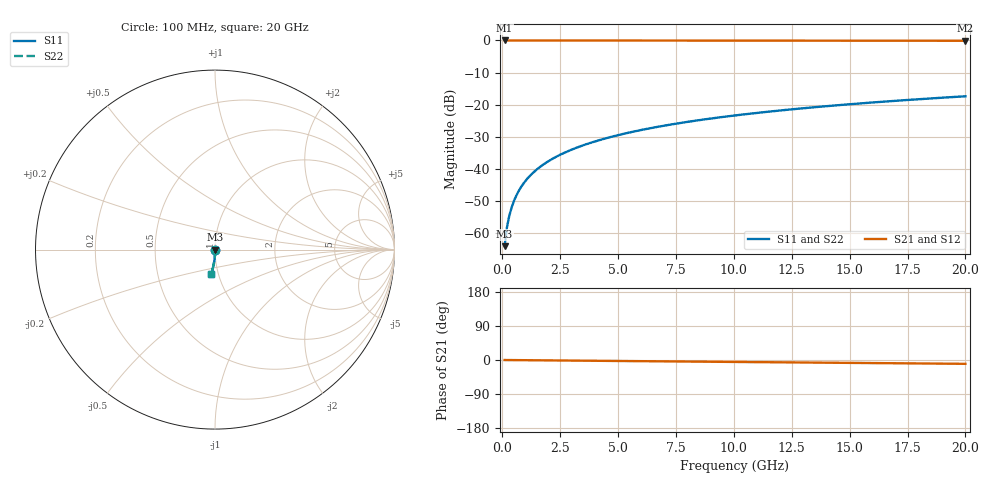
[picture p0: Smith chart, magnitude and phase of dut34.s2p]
! Touchstone file exported from HFSS 2026.1.0
!  File:  C:/ffzhzh/LocalFiles/Ansys_Project_Files/temp_train_TSV_34_1782958415_6388.aedt
!  Generated:  10:14:47 AM Jul  2, 2026
!  Design:  TSV
!  Project:  temp_train_TSV_34_1782958415_6388
! Variables:
!  h_bsmrdl = 2um
!  h_ox = 20um
!  h_rdl = 5um
!  h_sub = 68.68um
!  h_tmrdl = 5um
!  h_tsv = 68.68um
!  h_via = 3um
!  l_bsmrdl = 300um
!  l_sub = 415.4um
!  l_tmrdl = 200um
!  m_sub = 200um
!  pitch = 16.97um
!  r_tsv = 7.7um
!  s_tmrdl = 10um
!  w_bsmrdl = 18um
!  w_sub = 500um
!  w_tmrdl = 12um
!  x_tsv_center1 = 206um
!  x_tsv_center2 = 524um
!  x_tsv_center3 = 736um
!  x_tsv_center4 = 1054um
!  x_tsv_center5 = 1266um
!  x_tsv_center6 = 1584um
# GHz S MA R 50.000000
! Terminal data exported
! Port[1] = TSV1_1_T1
! Port[2] = TSV1_1_T2
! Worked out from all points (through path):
!   200 points, 100 MHz to 20 GHz, reference 50 ohm
!   highest |S21| = 0.00 dB at 100 MHz (marker M1); lowest = -0.1 dB at 20 GHz (marker M2)
!   group delay of S21, straight-line fit = 1.4 ps
!   lowest |S11| = -64.0 dB at 100 MHz (marker M3), VSWR 1.00, Z = 50 - j0.0599 ohm
!   |S11| at or under -10 dB: start of sweep to end of sweep
!   |S22| runs from -64.0 to -17.4 dB; largest |S21 - S12| = 5.6e-15
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0.1  0.0006292 -72.1  0.9998 -0.1  0.9998 -0.1  0.0006292 -72.1
! Gamma 0 0 0 0
! Port Impedance 50 0 50 0
0.2  0.001229 -79.5  0.9998 -0.1  0.9998 -0.1  0.001229 -79.5
0.3  0.001854 -81.8  0.9997 -0.2  0.9997 -0.2  0.001854 -81.8
0.4  0.002498 -82.9  0.9997 -0.2  0.9997 -0.2  0.002498 -82.9
0.5  0.003155 -83.7  0.9996 -0.3  0.9996 -0.3  0.003155 -83.7
0.7  0.00449 -84.8  0.9996 -0.4  0.9996 -0.4  0.00449 -84.8
0.8  0.005164 -85.2  0.9995 -0.4  0.9995 -0.4  0.005164 -85.2
1  0.006514 -86.0  0.9995 -0.5  0.9995 -0.5  0.006514 -86.0
1.2  0.007866 -86.6  0.9994 -0.6  0.9994 -0.6  0.007866 -86.6
1.4  0.009217 -87.1  0.9994 -0.7  0.9994 -0.7  0.009217 -87.1
1.7  0.01124 -87.7  0.9993 -0.9  0.9993 -0.9  0.01124 -87.7
2  0.01327 -88.1  0.9992 -1.0  0.9992 -1.0  0.01327 -88.1
2.7  0.018 -89.0  0.9991 -1.4  0.9991 -1.4  0.018 -89.0
3.5  0.02342 -89.7  0.9988 -1.8  0.9988 -1.8  0.02342 -89.7
4.2  0.02817 -90.2  0.9986 -2.2  0.9986 -2.2  0.02817 -90.2
5  0.03362 -90.7  0.9984 -2.6  0.9984 -2.6  0.03362 -90.7
6.8  0.0459 -91.9  0.9976 -3.5  0.9976 -3.5  0.0459 -91.9
8.3  0.05615 -92.8  0.997 -4.2  0.997 -4.2  0.05615 -92.8
10.1  0.06843 -93.8  0.996 -5.1  0.996 -5.1  0.06843 -93.8
13.4  0.09087 -95.6  0.994 -6.8  0.994 -6.8  0.09087 -95.6
16.7  0.1132 -97.4  0.9914 -8.5  0.9914 -8.5  0.1132 -97.4
20  0.1353 -99.1  0.9884 -10.1  0.9884 -10.1  0.1353 -99.1
